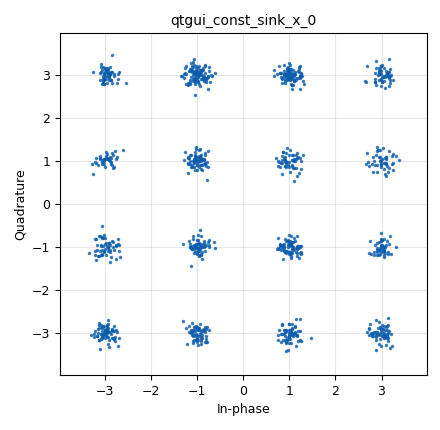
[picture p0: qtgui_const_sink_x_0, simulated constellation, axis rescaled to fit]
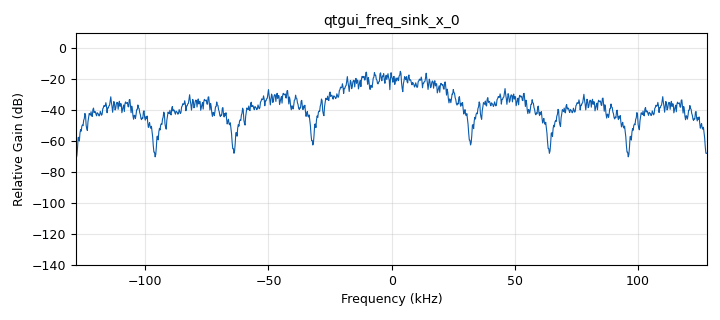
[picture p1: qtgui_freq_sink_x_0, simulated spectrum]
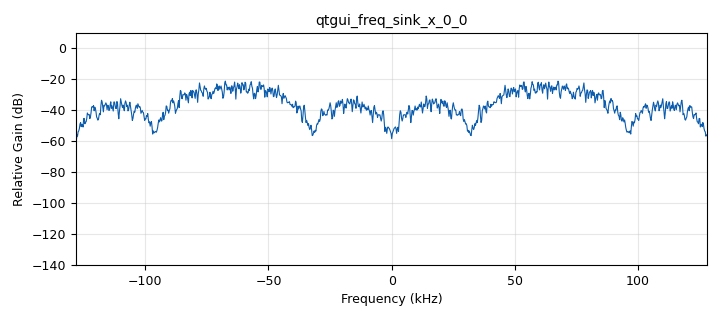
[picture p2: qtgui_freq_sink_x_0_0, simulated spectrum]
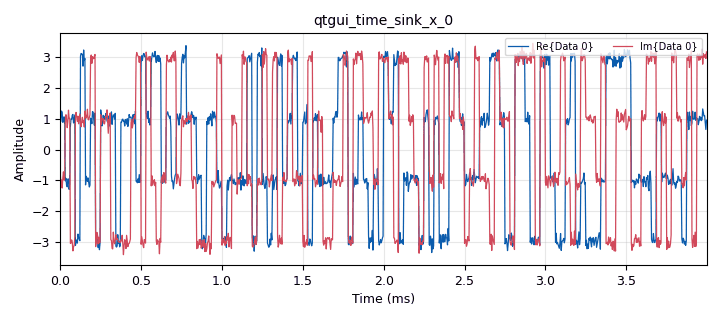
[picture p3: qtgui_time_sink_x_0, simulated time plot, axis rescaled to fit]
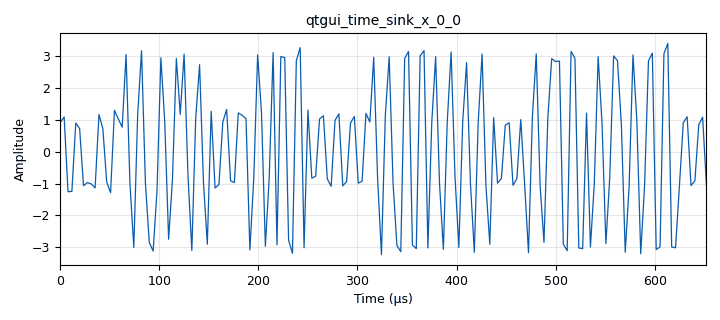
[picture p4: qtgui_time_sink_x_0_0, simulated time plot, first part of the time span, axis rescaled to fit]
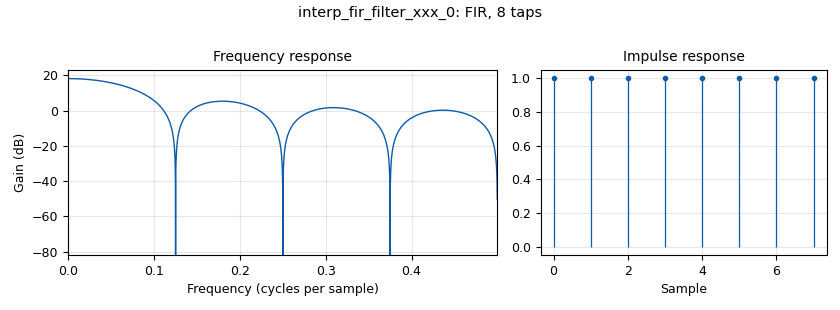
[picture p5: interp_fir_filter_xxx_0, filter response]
options:
  parameters:
    author: radiogis_director
    generate_options: qt_gui
    id: top_block
    output_language: python
    title: top_block
  states: {}

blocks:
- name: M
  id: variable
  parameters:
    value: len(tabla_de_verdad_constelacion )
  states: {}
- name: Rb
  id: variable
  parameters:
    value: Rs*bps
  states: {}
- name: Rs
  id: variable
  parameters:
    value: '32000'
  states: {}
- name: Sps
  id: variable
  parameters:
    value: '8'
  states: {}
- name: bps
  id: variable
  parameters:
    value: int(math.log(M,2))
  states: {}
- name: fc
  id: variable
  parameters:
    value: 2*Rs
  states: {}
- name: h
  id: variable
  parameters:
    value: '[1]*Sps'
  states: {}
- name: samp_rate
  id: variable
  parameters:
    value: Rs*Sps
  states: {}
- name: tabla_de_verdad_constelacion
  id: variable
  parameters:
    value: (-3-3j, -1-3j, 1-3j, 3-3j, 3-1j, 1-1j, -1-1j, -3-1j, -3+1j, -1+1j, 1+1j, 3+1j, 3+3j, 1+3j, -1+3j, -3+3j)
  states: {}
- name: analog_noise_source_x_0
  id: analog_noise_source_x
  parameters:
    amp: '0.2'
    noise_type: analog.GR_GAUSSIAN
    seed: '0'
    type: complex
  states: {}
- name: analog_random_source_x_0
  id: analog_random_source_x
  parameters:
    max: '2'
    min: '0'
    num_samps: '1000'
    repeat: 'True'
    type: byte
  states: {}
- name: blocks_add_xx_0
  id: blocks_add_xx
  parameters:
    type: complex
  states: {}
- name: blocks_pack_k_bits_bb_0
  id: blocks_pack_k_bits_bb
  parameters:
    k: '8'
  states: {}
- name: blocks_packed_to_unpacked_xx_0
  id: blocks_packed_to_unpacked_xx
  parameters:
    bits_per_chunk: bps
    endianness: gr.GR_MSB_FIRST
    type: byte
  states: {}
- name: digital_chunks_to_symbols_xx_0
  id: digital_chunks_to_symbols_xx
  parameters:
    dimension: '1'
    in_type: byte
    out_type: complex
    symbol_table: tabla_de_verdad_constelacion
  states: {}
- name: epy_block_0
  id: epy_block
  parameters:
    _source_code: "import numpy as np\nfrom gnuradio import gr\n\nclass blk(gr.sync_block):\n    \"\"\"\n    Up-Converter en GNU Radio con salida real\n    \"\"\"\n\n    def __init__(self, fc=100e3, samp_rate=1e6):\n        gr.sync_block.__init__(\n            self,\n            name=\"up_converter_real\",\n            in_sig=[np.complex64],  # entrada compleja\n            out_sig=[np.float32]    # salida real\n        )\n        self.fc = fc\n        self.samp_rate = samp_rate\n        self.phase = 0\n        self.dt = 2 * np.pi * self.fc / self.samp_rate\n\n    def work(self, input_items, output_items):\n        in0 = input_items[0]\n        out = output_items[0]\n\n        # Generar portadora compleja\n        n = np.arange(len(in0))\n        carrier = np.exp(1j * (self.phase + self.dt * n))\n\n        # Mezclar señal de entrada con portadora y tomar solo la parte real\n        out[:] = np.real(in0 * carrier)\n\n        # Actualizar fase para continuidad\n        self.phase += self.dt * len(in0)\n        self.phase = np.mod(self.phase, 2*np.pi)\n\n        return len(out)\n\n"
    fc: fc
    samp_rate: samp_rate
  states: {}
- name: import_0
  id: import
  parameters:
    imports: import math
  states: {}
- name: interp_fir_filter_xxx_0
  id: interp_fir_filter_xxx
  parameters:
    interp: Sps
    taps: h
    type: ccf
  states: {}
- name: qtgui_const_sink_x_0
  id: qtgui_const_sink_x
  parameters:
    size: '1024'
    type: complex
  states: {}
- name: qtgui_freq_sink_x_0
  id: qtgui_freq_sink_x
  parameters:
    average: '0.05'
    bw: samp_rate
    fc: '0'
    fftsize: '1024'
    type: complex
  states: {}
- name: qtgui_freq_sink_x_0_0
  id: qtgui_freq_sink_x
  parameters:
    average: '0.05'
    bw: samp_rate
    fc: '0'
    fftsize: '1024'
    type: float
  states: {}
- name: qtgui_time_sink_x_0
  id: qtgui_time_sink_x
  parameters:
    size: '1024'
    srate: samp_rate
    type: complex
  states: {}
- name: qtgui_time_sink_x_0_0
  id: qtgui_time_sink_x
  parameters:
    size: '1024'
    srate: samp_rate
    type: float
  states: {}
- name: virtual_sink_0
  id: virtual_sink
  parameters:
    stream_id: p1
  states: {}
- name: virtual_sink_0_0
  id: virtual_sink
  parameters:
    stream_id: p0
  states: {}
- name: virtual_source_0
  id: virtual_source
  parameters:
    stream_id: p1
  states: {}
- name: virtual_source_0_0
  id: virtual_source
  parameters:
    stream_id: p0
  states: {}
- name: virtual_source_0_1
  id: virtual_source
  parameters:
    stream_id: p1
  states: {}

connections:
- [analog_noise_source_x_0, '0', blocks_add_xx_0, '0']
- [analog_random_source_x_0, '0', blocks_pack_k_bits_bb_0, '0']
- [blocks_add_xx_0, '0', virtual_sink_0, '0']
- [blocks_pack_k_bits_bb_0, '0', blocks_packed_to_unpacked_xx_0, '0']
- [blocks_packed_to_unpacked_xx_0, '0', digital_chunks_to_symbols_xx_0, '0']
- [digital_chunks_to_symbols_xx_0, '0', interp_fir_filter_xxx_0, '0']
- [epy_block_0, '0', qtgui_freq_sink_x_0_0, '0']
- [epy_block_0, '0', qtgui_time_sink_x_0_0, '0']
- [interp_fir_filter_xxx_0, '0', blocks_add_xx_0, '1']
- [interp_fir_filter_xxx_0, '0', virtual_sink_0_0, '0']
- [virtual_source_0, '0', qtgui_const_sink_x_0, '0']
- [virtual_source_0, '0', qtgui_time_sink_x_0, '0']
- [virtual_source_0_0, '0', qtgui_freq_sink_x_0, '0']
- [virtual_source_0_1, '0', epy_block_0, '0']

metadata:
  file_format: 1
  grc_version: 3.10.12.0
